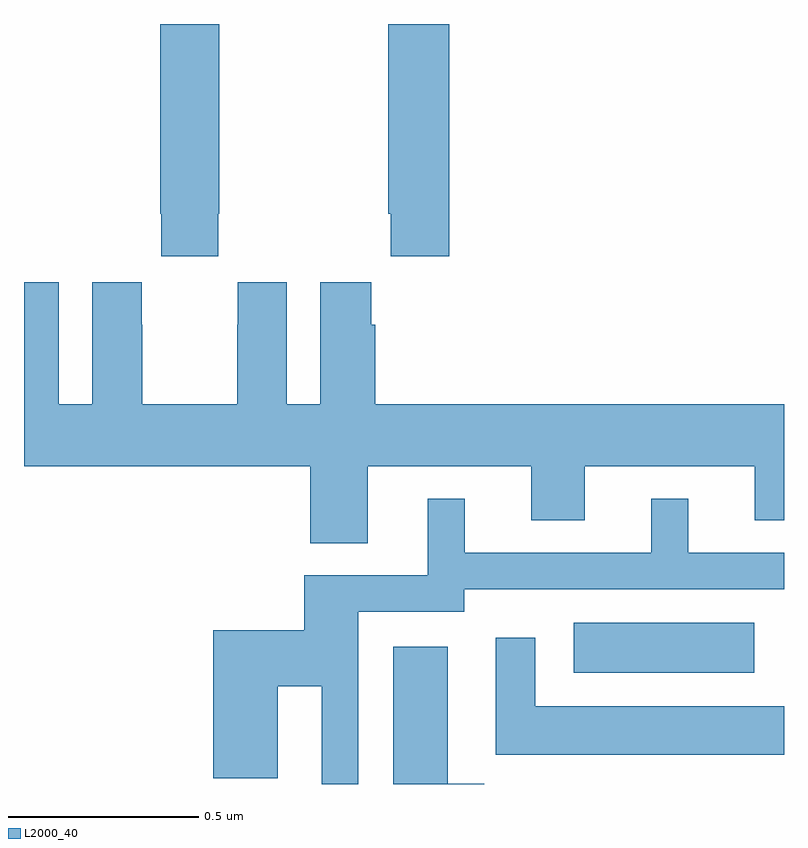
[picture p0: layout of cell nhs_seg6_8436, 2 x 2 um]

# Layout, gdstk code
import gdstk
lib = gdstk.Library(unit=1e-6, precision=1e-09)
def R(c, l, rs):  # rectangles x0, y0, x1, y1
    for r in rs: c.add(gdstk.rectangle(r[:2], r[2:], *l))
def P(c, l, *ps):  # polygons
    for p in ps: c.add(gdstk.Polygon(p, *l))
L2000_40 = (2000, 40)

nhs_seg6_8436 = lib.new_cell('nhs_seg6_8436')
R(nhs_seg6_8436, L2000_40, [(222.447,946.793,222.922,946.924)])
P(nhs_seg6_8436, L2000_40, [(221.511,948.001),(221.514,948.001),(221.514,948.5),(221.359,948.5),(221.359,948.001),(221.361,948.001),(221.361,947.889),(221.511,947.889)],
  [(222.119,948.5),(221.959,948.5),(221.959,948.001),(221.965,948.001),(221.965,947.889),(222.119,947.889)],
  [(221.905,947.336),(222.335,947.336),(222.335,947.194),(222.475,947.194),(222.475,947.336),(222.923,947.336),(222.923,947.194),(223,947.194),(223,947.5),(221.924,947.5),(221.924,947.708),(221.914,947.708),(221.914,947.821),(221.78,947.821),(221.78,947.5),(221.692,947.5),(221.692,947.821),(221.562,947.821),(221.562,947.708),(221.561,947.708),(221.561,947.5),(221.311,947.5),(221.311,947.708),(221.31,947.708),(221.31,947.821),(221.18,947.821),(221.18,947.5),(221.092,947.5),(221.092,947.821),(221,947.821),(221,947.336),(221.753,947.336),(221.753,947.134),(221.905,947.134)],
  [(221.88,946.953),(222.159,946.953),(222.159,947.013),(223,947.013),(223,947.109),(222.748,947.109),(222.748,947.251),(222.65,947.251),(222.65,947.109),(222.16,947.109),(222.16,947.251),(222.062,947.251),(222.062,947.049),(221.738,947.049),(221.738,946.905),(221.498,946.905),(221.498,946.515),(221.668,946.515),(221.668,946.757),(221.784,946.757),(221.784,946.5),(221.88,946.5)],
  [(223,946.705),(222.346,946.705),(222.346,946.885),(222.242,946.885),(222.242,946.577),(223,946.577)],
  [(222.211,946.501),(222.115,946.501),(222.115,946.861),(221.972,946.861),(221.972,946.5),(222.211,946.5)])

lib.write_gds('nhs_seg6_8436.gds')
